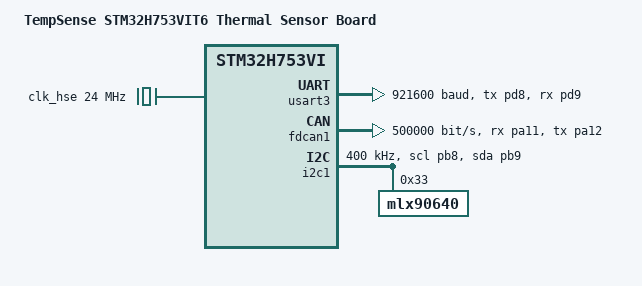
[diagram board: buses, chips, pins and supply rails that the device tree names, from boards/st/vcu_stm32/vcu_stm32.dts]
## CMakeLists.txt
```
# SPDX-License-Identifier: Apache-2.0
cmake_minimum_required(VERSION 3.20.0)

#generates compile_commands.json for clangd to LSP correctly. 
set(CMAKE_EXPORT_COMPILE_COMMANDS ON)

set(BOARD_ROOT ${CMAKE_CURRENT_SOURCE_DIR})


find_package(Zephyr REQUIRED HINTS $ENV{ZEPHYR_BASE})
project(vcu)

# Add include/ directory to include paths
target_include_directories(app PRIVATE
    ${CMAKE_CURRENT_SOURCE_DIR}/include
)

# Gather all C and C++ source files under src/
file(GLOB_RECURSE APP_SOURCES
    ${CMAKE_CURRENT_SOURCE_DIR}/src/*.c
    ${CMAKE_CURRENT_SOURCE_DIR}/src/*.cpp
)

# Suppress conversion/promotion warnings for vendor MLX90640 library
set_source_files_properties(
    ${CMAKE_CURRENT_SOURCE_DIR}/src/MLX/MLX90640_API.c
    ${CMAKE_CURRENT_SOURCE_DIR}/src/MLX/MLX90640_I2C_Driver.c
    PROPERTIES COMPILE_FLAGS "-Wno-double-promotion -Wno-conversion"
)

# Add sources to app target
target_sources(app PRIVATE ${APP_SOURCES})
```

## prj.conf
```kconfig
CONFIG_CAN=y
CONFIG_GPIO=y
CONFIG_ADC=y
CONFIG_I2C=y
CONFIG_UART_ASYNC_API=y
CONFIG_LOG=y
CONFIG_LOG_MODE_IMMEDIATE=y
CONFIG_LOG_DEFAULT_LEVEL=3
CONFIG_LOG_BACKEND_FORMAT_TIMESTAMP=y
CONFIG_LOG_BACKEND_SHOW_COLOR=y
CONFIG_MAIN_STACK_SIZE=16384


CONFIG_CBPRINTF_FP_SUPPORT=y

CONFIG_CPP=y
CONFIG_CPP_EXCEPTIONS=y
CONFIG_GLIBCXX_LIBCPP=y
CONFIG_REQUIRES_FULL_LIBCPP=y
CONFIG_CAN_STATS=y
CONFIG_STD_CPP20=y



# Keep your custom compiler flag:
CONFIG_COMPILER_OPT="-ftrack-macro-expansion=0"
CONFIG_THREAD_MONITOR=y
CONFIG_THREAD_STACK_INFO=y
CONFIG_HEAP_MEM_POOL_SIZE=16384
CONFIG_SYSTEM_WORKQUEUE_STACK_SIZE=8192
CONFIG_SYS_HEAP_RUNTIME_STATS=y


CONFIG_LOG=y
CONFIG_LOG_MODE_IMMEDIATE=y
CONFIG_LOG_BUFFER_SIZE= 6144
CONFIG_LOG_PROCESS_THREAD_STACK_SIZE=2048
CONFIG_PRINTK=y

##CPU load
CONFIG_CPU_LOAD=y



CONFIG_THREAD_RUNTIME_STATS=y
CONFIG_DEBUG_OPTIMIZATIONS=y

CONFIG_SCHED_THREAD_USAGE=y
CONFIG_CPU_LOAD=y
CONFIG_STATS=y


# Enable floating point unit 
CONFIG_FPU=y


# threading
CONFIG_MULTITHREADING=y 
CONFIG_NUM_COOP_PRIORITIES=127
CONFIG_NUM_PREEMPT_PRIORITIES=127
CONFIG_SCHED_SCALABLE=y


## TODO: Remove after stable build 
CONFIG_ASSERT=y
CONFIG_STACK_CANARIES=y
CONFIG_STACK_CANARIES_ALL=y

CONFIG_THREAD_ANALYZER=y
CONFIG_STACK_USAGE=y
```

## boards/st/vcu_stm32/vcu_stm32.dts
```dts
/*
 * TempSense STM32H753VIT6 Thermal Sensor Board
 */

/dts-v1/;

#include <st/h7/stm32h753Xi.dtsi>
#include <st/h7/stm32h753zitx-pinctrl.dtsi>
#include <zephyr/dt-bindings/i2c/i2c.h>
#include <zephyr/dt-bindings/dma/stm32_dma.h>

 / {
	model = "TempSense STM32H753VIT6 Thermal Sensor Board";
	compatible = "st,stm32h753vi";

	chosen {
		zephyr,console = &usart3;
		zephyr,shell-uart = &usart3;

		zephyr,sram  = &sram0;
		zephyr,flash = &flash0;
		zephyr,dtcm  = &dtcm;

		zephyr,canbus = &fdcan1;
	};

	aliases {
		i2c0 = &i2c1;
		can0 = &fdcan1;
	};
};

/*
 * Clocks
 * - Your board has a 24 MHz crystal on PH0/PH1, so use HSE=24MHz (no bypass).
 * - Keep the same derived frequencies as Nucleo: SYSCLK 480 MHz, FDCAN kernel 80 MHz.
 */
&clk_hse {
	clock-frequency = <DT_FREQ_M(24)>;
	status = "okay";
};

&pll {
	/* 24MHz / 6 = 4MHz input, 4MHz * 240 = 960MHz VCO, /2 = 480MHz */
	div-m = <6>;
	mul-n = <240>;
	div-p = <2>;
	div-q = <2>;
	div-r = <2>;
	clocks = <&clk_hse>;
	status = "okay";
};

&pll2 {
	/* 24MHz / 12 = 2MHz input, 2MHz * 120 = 240MHz VCO, /3 = 80MHz for FDCAN */
	div-m = <12>;
	mul-n = <120>;
	div-p = <2>;
	div-q = <3>; /* 80MHz */
	div-r = <2>;
	clocks = <&clk_hse>;
	status = "okay";
};

&rcc {
	clocks = <&pll>;
	clock-frequency = <DT_FREQ_M(480)>;
	d1cpre = <1>;
	hpre = <2>;
	d1ppre = <2>;
	d2ppre1 = <2>;
	d2ppre2 = <2>;
	d3ppre = <2>;
};

/* Enable GPIO ports you use */
&gpioa { status = "okay"; };
&gpiob { status = "okay"; };
&gpioc { status = "okay"; };
&gpiod { status = "okay"; };
&gpioe { status = "okay"; };

/*
 * USART3 console (PD8/PD9)
 */
&usart3 {
	pinctrl-0 = <&usart3_tx_pd8 &usart3_rx_pd9>;
	pinctrl-names = "default";
	current-speed = <921600>;
	status = "okay";
};

/*
 * CAN: transceiver RXD/TXD are on PA11/PA12 per schematic.
 * NOTE: PA11/PA12 are also commonly used for USB FS (DM/DP), so don’t enable USB FS on this pinout.
 */
&fdcan1 {
	clocks = <&rcc STM32_CLOCK_BUS_APB1_2 0x00000100>,
		 <&rcc STM32_SRC_PLL2_Q FDCAN_SEL(2)>;

	pinctrl-0 = <&fdcan1_rx_pa11 &fdcan1_tx_pa12>;
	pinctrl-names = "default";

	/* Optional but usually nice to have in DT */
	bus-speed = <500000>;

	status = "okay";
};

/*
 * I2C1: PB8/PB9 to MLX90640
 */
&i2c1 {
	pinctrl-0 = <&i2c1_scl_pb8 &i2c1_sda_pb9>;
	pinctrl-names = "default";
	clock-frequency = <I2C_BITRATE_FAST>;
	status = "okay";

	/*
	 * MLX90640 default 7-bit I2C address is 0x33 in most setups. :contentReference[oaicite:1]{index=1}
	 * Compatible string depends on the binding/driver you’re using; many Zephyr examples use "mlx90640". :contentReference[oaicite:2]{index=2}
	 */
	mlx90640: mlx90640@33 {
		compatible = "mlx90640";
		reg = <0x33>;
		label = "MLX90640";
	};
}; 
```

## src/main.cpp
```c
#include <zephyr/kernel.h>
#include <zephyr/drivers/can.h>
#include <syscalls/can.h>
#include <stdbool.h>
#include <stddef.h>
#include <stdint.h>
#include <stdio.h>
#include <sys/_intsup.h>
#include <zephyr/debug/cpu_load.h>
#include <zephyr/device.h>
#include <zephyr/devicetree.h>
#include <zephyr/drivers/adc.h>
#include <zephyr/drivers/gpio.h>
#include <zephyr/logging/log.h>
#include <zephyr/sys/mem_stats.h>
#include <zephyr/sys/printk.h>
#include <zephyr/sys/sys_heap.h>
#include <zephyr/toolchain.h>
#include <zephyr/types.h>
#include "MLX/MLX90640_I2C_Driver.h"
#include "can.h"
#include "thermal_Camera.h"
#include "thermal_pipeline.h"

#ifndef __cplusplus
#error "__cplusplus not defined! Build system is compiling as C!"
#endif

LOG_MODULE_REGISTER(main);

CAN_MSGQ_DEFINE(main_can_rx_msgq, 1000);


int main(void)
{

    LOG_INF("Main Innit");

    const struct device *can_dev = DEVICE_DT_GET(DT_NODELABEL(fdcan1));

    static CanBus can;
    can.init(can_dev);

    static ThermalCamera MLX{};
    MLX.init();
    MLX.setRefreshRate(TC_RefreshRate::REFRESH_16_HZ);

    static ThermalPipeline pipe{MLX, can};
    pipe.setPrintMode(PipePrintModes::LOG_STATUS);
    pipe.start();

    k_sleep(K_FOREVER);
}

/*
int main(void)
{
    LOG_INF("Main Innit");

    ThermalCamera MLX {};
    MLX.init();
    MLX.setRefreshRate(TC_RefreshRate::REFRESH_32_HZ);
        


    int64_t now_ms = k_uptime_get();
    int64_t lastMessageTime_ms = now_ms;

    while (true) {

        now_ms = k_uptime_get();
        
        MLX.getUpdatedFrame();
                
        
        if (now_ms - lastMessageTime_ms >= 1000){

            double fps = 1000/(double)(k_uptime_get()-now_ms);
            float loadPer =  static_cast<float>((cpu_load_get(false))/10);
            LOG_INF("PIPE SOH: FRAME FPS: %.2f CPU usage: %.2f", static_cast<double>(fps), loadPer);

            lastMessageTime_ms = now_ms;
        }

    }
    
}
*/
```

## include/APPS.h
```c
#pragma once
#include <zephyr/kernel.h>
#include <zephyr/sys/sys_heap.h>
#include <zephyr/sys/mem_stats.h>
#include <zephyr/debug/cpu_load.h>
#include "hardware.h"
#include "vehicle_state.h"

class APPS_THREAD
{
  private:
    VehicleState *vehicle;

    static constexpr int APPS_THREAD_STACK_SIZE = 1024;
    static constexpr int APPS_THREAD_PRIORITY = 5;
    static constexpr int APPS_PERIOD_MS = 100;

    struct k_thread apps_thread_;
    k_thread_stack_t *apps_stack_;
    static VehicleState *vehicle_;
    static Hardware *hardware_;

    int64_t agreement_fault_deadline_ = 0;
    bool brake_fault_latched_ = false;

    static void apps_main_loop(void *p1, void *p2, void *p3);

    void update();
    float readPedalPercent(uint16_t raw, uint16_t low, uint16_t range, PEDAL_SLOPE_DIRECTION slope);
    bool checkOpenCircuit(uint16_t raw, uint16_t low_threshold);
    bool checkShortCircuit(uint16_t raw, uint16_t high_threshold);
    bool checkPedalAgreement(float p1_pct, float p2_pct);
    bool checkBrakeOverlap(float avg_pct);

  public:
    APPS_THREAD(VehicleState *vehicle);

    int Initialize(Hardware *hw);
};
```

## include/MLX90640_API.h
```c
/**
 * @copyright (C) 2017 Melexis N.V.
 *
 * Licensed under the Apache License, Version 2.0 (the "License");
 * you may not use this file except in compliance with the License.
 * You may obtain a copy of the License at
 *
 *     http://www.apache.org/licenses/LICENSE-2.0
 *
 * Unless required by applicable law or agreed to in writing, software
 * distributed under the License is distributed on an "AS IS" BASIS,
 * WITHOUT WARRANTIES OR CONDITIONS OF ANY KIND, either express or implied.
 * See the License for the specific language governing permissions and
 * limitations under the License.
 *
 */
#ifndef _MLX90640_API_H_
#define _MLX90640_API_H_

#include <stdint.h>

#ifdef __cplusplus
extern "C" {
#endif

#define MLX90640_NO_ERROR 0
#define MLX90640_I2C_NACK_ERROR 1
#define MLX90640_I2C_WRITE_ERROR 2
#define MLX90640_BROKEN_PIXELS_NUM_ERROR 3
#define MLX90640_OUTLIER_PIXELS_NUM_ERROR 4
#define MLX90640_BAD_PIXELS_NUM_ERROR 5
#define MLX90640_ADJACENT_BAD_PIXELS_ERROR 6
#define MLX90640_EEPROM_DATA_ERROR 7
#define MLX90640_FRAME_DATA_ERROR 8
#define MLX90640_MEAS_TRIGGER_ERROR 9

#define BIT_MASK(x) (1UL << (x))
#define REG_MASK(sbit,nbits) ~((~(~0UL << (nbits))) << (sbit))

#define MLX90640_EEPROM_START_ADDRESS 0x2400
#define MLX90640_EEPROM_DUMP_NUM 832
#define MLX90640_PIXEL_DATA_START_ADDRESS 0x0400
#define MLX90640_PIXEL_NUM 768
#define MLX90640_LINE_NUM 24
#define MLX90640_COLUMN_NUM 32
#define MLX90640_LINE_SIZE 32
#define MLX90640_COLUMN_SIZE 24
#define MLX90640_AUX_DATA_START_ADDRESS 0x0700
#define MLX90640_AUX_NUM 64
#define MLX90640_STATUS_REG 0x8000
#define MLX90640_INIT_STATUS_VALUE 0x0030
#define MLX90640_STAT_FRAME_MASK BIT_MASK(0) 
#define MLX90640_GET_FRAME(reg_value) (reg_value & MLX90640_STAT_FRAME_MASK)
#define MLX90640_STAT_DATA_READY_MASK BIT_MASK(3) 
#define MLX90640_GET_DATA_READY(reg_value) (reg_value & MLX90640_STAT_DATA_READY_MASK)

#define MLX90640_CTRL_REG 0x800D
#define MLX90640_CTRL_TRIG_READY_MASK BIT_MASK(15) 
#define MLX90640_CTRL_REFRESH_SHIFT 7
#define MLX90640_CTRL_REFRESH_MASK REG_MASK(MLX90640_CTRL_REFRESH_SHIFT,3)
#define MLX90640_CTRL_RESOLUTION_SHIFT 10
#define MLX90640_CTRL_RESOLUTION_MASK REG_MASK(MLX90640_CTRL_RESOLUTION_SHIFT,2)
#define MLX90640_CTRL_MEAS_MODE_SHIFT 12
#define MLX90640_CTRL_MEAS_MODE_MASK BIT_MASK(12)

#define MLX90640_MS_BYTE_SHIFT 8
#define MLX90640_MS_BYTE_MASK 0xFF00
#define MLX90640_LS_BYTE_MASK 0x00FF
#define MLX90640_MS_BYTE(reg16) ((reg16 & MLX90640_MS_BYTE_MASK) >> MLX90640_MS_BYTE_SHIFT)
#define MLX90640_LS_BYTE(reg16) (reg16 & MLX90640_LS_BYTE_MASK)
#define MLX90640_MSBITS_6_MASK 0xFC00
#define MLX90640_LSBITS_10_MASK 0x03FF
#define MLX90640_NIBBLE1_MASK 0x000F
#define MLX90640_NIBBLE2_MASK 0x00F0
#define MLX90640_NIBBLE3_MASK 0x0F00
#define MLX90640_NIBBLE4_MASK 0xF000
#define MLX90640_NIBBLE1(reg16) ((reg16 & MLX90640_NIBBLE1_MASK))
#define MLX90640_NIBBLE2(reg16) ((reg16 & MLX90640_NIBBLE2_MASK) >> 4)
#define MLX90640_NIBBLE3(reg16) ((reg16 & MLX90640_NIBBLE3_MASK) >> 8)
#define MLX90640_NIBBLE4(reg16) ((reg16 & MLX90640_NIBBLE4_MASK) >> 12)

#define POW2(x) pow(2, (double)x) 

#define SCALEALPHA 0.000001
    
typedef struct
    {
        int16_t kVdd;
        int16_t vdd25;
        float KvPTAT;
        float KtPTAT;
        uint16_t vPTAT25;
        float alphaPTAT;
        int16_t gainEE;
        float tgc;
        float cpKv;
        float cpKta;
        uint8_t resolutionEE;
        uint8_t calibrationModeEE;
        float KsTa;
        float ksTo[5];
        int16_t ct[5];
        uint16_t alpha[768];    
        uint8_t alphaScale;
        int16_t offset[768];    
        int8_t kta[768];
        uint8_t ktaScale;    
        int8_t kv[768];
        uint8_t kvScale;
        float cpAlpha[2];
        int16_t cpOffset[2];
        float ilChessC[3]; 
        uint16_t brokenPixels[5];
        uint16_t outlierPixels[5];  
    } paramsMLX90640;
    
    int MLX90640_DumpEE(uint8_t slaveAddr, uint16_t *eeData);
    int MLX90640_SynchFrame(uint8_t slaveAddr);
    int MLX90640_TriggerMeasurement(uint8_t slaveAddr);
    int MLX90640_GetFrameData(uint8_t slaveAddr, uint16_t *frameData);
    int MLX90640_ExtractParameters(uint16_t *eeData, paramsMLX90640 *mlx90640);
    float MLX90640_GetVdd(uint16_t *frameData, const paramsMLX90640 *params);
    float MLX90640_GetTa(uint16_t *frameData, const paramsMLX90640 *params);
    void MLX90640_GetImage(uint16_t *frameData, const paramsMLX90640 *params, float *result);
    void MLX90640_CalculateTo(uint16_t *frameData, const paramsMLX90640 *params, float emissivity, float tr, float *result);
    int MLX90640_SetResolution(uint8_t slaveAddr, uint8_t resolution);
    int MLX90640_GetCurResolution(uint8_t slaveAddr);
    int MLX90640_SetRefreshRate(uint8_t slaveAddr, uint8_t refreshRate);   
    int MLX90640_GetRefreshRate(uint8_t slaveAddr);  
    int MLX90640_GetSubPageNumber(uint16_t *frameData);
    int MLX90640_GetCurMode(uint8_t slaveAddr); 
    int MLX90640_SetInterleavedMode(uint8_t slaveAddr);
    int MLX90640_SetChessMode(uint8_t slaveAddr);
    void MLX90640_BadPixelsCorrection(uint16_t *pixels, float *to, int mode, paramsMLX90640 *params);

#ifdef __cplusplus
}
#endif

#endif
```

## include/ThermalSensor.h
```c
#pragma once

#include <zephyr/device.h>
#include <zephyr/kernel.h>
#include <zephyr/drivers/i2c.h>
#include <stdint.h>


static const constexpr uint8_t FRAME_COLS = 24;
static const constexpr uint8_t FRAME_ROWS = 32;

struct ThermalFrame{
    float pixles[FRAME_COLS][FRAME_ROWS];
    bool warmedData = false;
};



class ThermalSensor
{

    public:

    // Dont pass the driver explicitly to make dependency injection easy
    explicit ThermalSensor(const i2c_dt_spec& i2c); 

    ThermalFrame getCurFrame();


    private:
    
    ThermalFrame curFrame;

    ThermalFrame _bufFrame1;
    ThermalFrame _bufFrame2;

    
    



};
```

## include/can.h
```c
#pragma once
#include <zephyr/drivers/can.h>
#include <zephyr/kernel.h>

class CanBus
{
  private:
    const struct device *dev_;
    uint32_t bitrate_;
    uint32_t sample_point_;
    bool initialized_;
    bool started_;
    uint32_t frames_rec;
    uint32_t frames_sent;

  public:
    CanBus();

    int init(const struct device *dev, uint32_t bitrate = 1000000, uint32_t sample_point = 875);
    int start();
    int stop();

    int send(const struct can_frame *frame, k_timeout_t timeout, can_tx_callback_t callback = nullptr,
             void *user_data = nullptr);

    int add_rx_filter_msgq(struct k_msgq *msgq, const struct can_filter *filter);
    void remove_rx_filter(int filter_id);

    int get_state(enum can_state *state) const;
    int set_mode(can_mode_t mode);
    can_mode_t get_mode() const;

    bool is_initialized() const
    {
        return initialized_;
    }
    bool is_started() const
    {
        return started_;
    }

    const struct device *get_device() const
    {
        return dev_;
    }
};
```

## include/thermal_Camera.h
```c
#pragma once

#include <cstddef>
#include <stdint.h>
#include <zephyr/device.h>
#include <zephyr/drivers/i2c.h>
#include <zephyr/kernel.h>
#include "MLX/MLX90640_API.h"
#include "zephyr/kernel/thread.h"
#include "zephyr/sys/clock.h"

#define MLX_NODE DT_NODELABEL(mlx90640)
#define CAMERA_THREAD_STACK_SIZE 32768 

static constexpr uint8_t MLX906040_I2C_ADRR = 0x32;
static constexpr uint8_t FRAME_COLS = 32;
static constexpr uint8_t FRAME_ROWS = 24;
static constexpr uint16_t MLX90640_WARMUP_S = (4 * 60);
static constexpr uint16_t TOTAL_PIXELS = FRAME_ROWS * FRAME_COLS;
static constexpr uint16_t TOTAL_FRAME_BUFF_AMT = 834;

struct ThermalFrame
{
    float pixels[TOTAL_PIXELS];
    bool warmedData = false;
    uint32_t frameId = 0;
    uint8_t subPage = 0;
};


enum class TC_RefreshRate : uint8_t
{
  REFRESH_00_5_HZ = 0x00,
  REFRESH_01_HZ = 0x01,
  REFRESH_02_HZ = 0x02,
  REFRESH_04_HZ = 0x03,
  REFRESH_08_HZ = 0x04,
  REFRESH_16_HZ = 0x05,
  REFRESH_32_HZ = 0x06, 
  REFRESH_64_HZ = 0x07
};

class ThermalCamera
{
  public:
    explicit ThermalCamera();
    ~ThermalCamera();

    int init();
    int close();
    bool isWarm();
    int setRefreshRate(TC_RefreshRate rate);
    ThermalFrame* getUpdatedFrame();
    static void logFrame(ThermalFrame &frame);

  private:
    // --- Thread configuration ---
    static constexpr int CAPTURE_THREAD_PRIORITY = 5;
    static constexpr size_t CAPTURE_THREAD_STACK_SIZE = CAMERA_THREAD_STACK_SIZE;
    static constexpr k_timeout_t CONSUMER_FRAME_TIMEOUT = K_MSEC(100);

    // --- Sensor state ---
    paramsMLX90640 params;
    uint16_t sensor_init_timestamp_S;
    TC_RefreshRate refreshRate = TC_RefreshRate::REFRESH_02_HZ;

    // --- Frame buffers ---
    ThermalFrame thermFrameBuff1;
    ThermalFrame thermFrameBuff2;
    ThermalFrame *externFramePtr = &thermFrameBuff1;   // Frame that is accessible with getUpdated frame
    ThermalFrame *internalFramePtr = &thermFrameBuff2; // Frame that updateFrame updates

    // --- Synchronization ---
    struct k_mutex frameMutex_;
    struct k_sem frameReadySem_;
    uint32_t nextFrameId_ = 1;

    // --- Threading ---
    k_thread upFrameThread;
    k_tid_t upFrameThreadPtr = nullptr;
    bool running_ = false;

    // --- Internal methods ---
    void updateFrame();
    static int interLeaveChessData(ThermalFrame &sourceFrame, ThermalFrame &destFrame);
    static void updateFrameThreadEntry(void *p1, void *p2, void *p3);
    int getFrame(ThermalFrame &outFrame); // TODO: Fix this naming convention this internal method is to similar to the get for the customer
    int getFullFrame(ThermalFrame &outFrame);

};
```

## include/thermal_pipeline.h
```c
#pragma once

#include <cstdint>
#include <cstdlib>
#include <zephyr/kernel.h>
#include <zephyr/sys/byteorder.h>
#include <errno.h>
#include <span>
#include <vector>
#include <utility>


#include "can.h"
#include "thermal_Camera.h"
#include "zephyr/kernel/thread.h"

#define PIPE_THREAD_STACK_SIZE 32768
// %.4g float: up to 10 characters (e.g. -3.403e+38), plus a comma.
// Prefix: 10 frame-ID digits, comma, 2 row digits; final byte is the NUL.
static constexpr size_t PRINT_FRAMES_ROW_BUFFER_SIZE = 14 + FRAME_COLS * 11;

#define PRINT_FRAMES_STACK_SIZE ROUND_UP(sizeof(ThermalFrame) + PRINT_FRAMES_ROW_BUFFER_SIZE + 2048, 1024)

#define CAMERA_PROCESSING_SEGMENTS 7

// TODO: Implement the correct CAN codes and create DBC


enum class CansMsgCodes : uint32_t 
{
  TempData = 0x330,
  FrameDataIdentifier = 0x331
};


enum class PipeCanFrameTypes: uint8_t
{
  AVERAGED_STRIPS = 0x1,
  FULL_FRAME = 0x2,
  PARTIAL_FRAME = 0x3
};

enum class PipePrintModes
{
  NONE,
  STREAM,
  LOG_STATUS,
};

class ThermalPipeline
{
  public:
    explicit ThermalPipeline(ThermalCamera &camera, CanBus &can);

    int start();
    void close();

    void setPrintMode(PipePrintModes mode);


  private:
    static constexpr int PROCESSING_THREAD_PRIO = 6;
    static constexpr int PRINT_FRAMES_PRIO = 7;
    static constexpr size_t PRINT_QUEUE_LEN = 5;
    static constexpr uint8_t CAN_SIZE = 8;

    //TODO:Impelement a way to differentiate different Cameras
    static const uint16_t deviceId = 0;

    PipePrintModes pipePrintMode = PipePrintModes::LOG_STATUS;

    const struct device *uart_dev = DEVICE_DT_GET(DT_CHOSEN(zephyr_console));



    static void threadEntry(void *p1, void *p2, void *p3);
    void processingLoop();

    // Processing functions
    float getAveragePixel(ThermalFrame &frame);
    static int segmentCameraData(ThermalFrame &frame, float (&buf)[CAMERA_PROCESSING_SEGMENTS]);

    // Payload: BE uint16 frame ID, BE uint16 first index, up to two BE uint16 temps (C * 10).
    int sendTempsOverCan(const std::vector<float> &temps, uint16_t frameID);
    
    /** 
     * @brief 
     * 
     * @param frameType enum that determines the status message sent
     * @param frameId if sending Full frames and or strips the ID of the frame 
     * @return int: 0 on success
     */
    int sendInfoFrame(PipeCanFrameTypes frameType, int16_t frameId = -1);

    /**
     * @brief Generate a framestrip given two points p1 and p2.
     *
     * Given the two points a averaged strip is placed into the stripBuff with p1 acting as the top left point 
     * and p2 as the inclusive bottom right, forming a rectangle. 
     *
     * @param frame Reference to the thermal frame 
     * @param stripBuff Vector float containing the strip data
     * @param p1 the top left start index of the strip in form float pair (x,y).
     * @param p2 the bottom right (inclusive) stop index of the strip. 
     * @param avg boolean flag that if true averages all columns in the strip. 
     * @return 0 on success EINVAL if p1 or p2 are out of range or p2 is > p1
     */
    static int getFrameStrip(ThermalFrame &frame, std::vector<float> &stripBuff, std::pair<size_t, size_t> p1, std::pair<size_t, size_t> p2, bool avg = true);
    
    static uint16_t encodeTemp(const float &temp);

    // PrintFrames Thread
    struct k_thread printFramesThread;
    k_tid_t printFramesTID = nullptr;

    // SOH (status of health) messages
    const uint16_t messageIntervalSec = 5;
    int64_t lastMessageTime = k_uptime_get();
    int64_t statusStartTime = 0;
    uint32_t statusStartFrameId = 0;

    // PrintFrames Queue
    struct k_msgq printFramesQueue;
    ThermalFrame msqQBuff[PRINT_QUEUE_LEN];

    // Process Thermal Frames data Thread
    struct k_thread processingThread;
    k_tid_t processingTID = nullptr;

    static void printFramesEntry(void *instance, void *, void *);
    int printFramesThreadWrk();

    CanBus &can_;
    ThermalCamera &camera_;

    uint32_t lastProcessedFrameId_ = 0;
    bool running_ = false;
    ThermalFrame *workingFrame_{};

    friend class testAccess;
};
```

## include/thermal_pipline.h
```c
#pragma once

#include <cstdint>
#include <zephyr/kernel.h>

#include "can.h"
#include "thermal_camera.h"

#define PIPE_THREAD_STACK_SIZE  32768


// TODO:Talk with pujan about how this is supposed to work
enum CAN_MSG_CODES
{
  AVERAGE_PIXEL_MSG = 0x300
};

class ThermalPipline
{
  public:
    explicit ThermalPipline(ThermalCamera &camera, CanBus &can);

    int start();
    void close();

    bool printData = false;

  private:
    static constexpr int THREAD_PRIORITY = 5;
    static constexpr size_t THREAD_STACK_SIZE = 16384;

    bool pushSummaryToCan();

    static void threadEntry(void *p1, void *p2, void *p3);
    void processingLoop();

    // Processing functions
    float getAveragePixel(ThermalFrame &frame);
    static uint16_t encodeTemp(const float &temp);


    void printSimple(ThermalFrame &Frame);

    CanBus &can_;
    ThermalCamera &camera_;
    struct k_thread workerThread_;
    k_tid_t workerTid_ = nullptr;
    uint32_t lastProcessedFrameId_ = 0;
    bool running_ = false;
    ThermalFrame *workingFrame_{};
};
```

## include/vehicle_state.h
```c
// vehicle_state.h
#pragma once
#include <zephyr/kernel.h>
#include <zephyr/drivers/can.h>

enum Corner : uint8_t
{
    FRONT_LEFT = 0,
    FRONT_RIGHT = 1,
    REAR_LEFT = 2,
    REAR_RIGHT = 3,
    NUM_CORNERS = 4
};

struct DTI_Inverter
{
    uint8_t node_id;

    // Packet 0x1F: General Data 6
    uint8_t control_mode;    // 1=Speed,2=Current,3=CurrBrake,4=Pos,7=None
    int16_t target_iq;       // [A_pk * 10]
    uint16_t motor_position; // [deg * 10]
    uint8_t is_motor_still;  // 1=still, 0=rotating

    // Packet 0x20: General Data 1
    int32_t erpm;          // [ERPM]
    int16_t duty_cycle;    // [% * 10]
    int16_t input_voltage; // [V]

    // Packet 0x21: General Data 2
    int16_t ac_current; // [A_pk * 10]
    int16_t dc_current; // [A_dc * 10]

    // Packet 0x22: General Data 3
    int16_t controller_temp; // [°C * 10]
    int16_t motor_temp;      // [°C * 10]
    uint8_t fault_code;      // 0x00=None ... 0x0A=AnalogErr

    // Packet 0x23: General Data 4
    int32_t id; // [A_pk * 100]
    int32_t iq; // [A_pk * 100]

    // Packet 0x24: General Data 5
    int8_t throttle_signal; // [%]
    int8_t brake_signal;    // [%]

    bool digital_in1;
    bool digital_in2;
    bool digital_in3;
    bool digital_in4;
    bool digital_out1;
    bool digital_out2;
    bool digital_out3;
    bool digital_out4;

    bool drive_enable;

    bool limit_cap_temp;
    bool limit_dc_current;
    bool limit_drive_enable;
    bool limit_igbt_accel_temp;
    bool limit_igbt_temp;
    bool limit_input_voltage;
    bool limit_motor_accel_temp;
    bool limit_motor_temp;
    bool limit_rpm_min;
    bool limit_rpm_max;
    bool limit_power;

    uint8_t can_map_version;

    // Packet 0x25: Configured and Available AC Currents
    int16_t max_ac_current;       // [A_pk * 10]
    int16_t avail_max_ac_current; // [A_pk * 10]
    int16_t min_ac_current;       // [A_pk * 10]
    int16_t avail_min_ac_current; // [A_pk * 10]

    // Packet 0x26: Configured and Available DC Currents
    int16_t max_dc_current;       // [A_dc * 10]
    int16_t avail_max_dc_current; // [A_dc * 10]
    int16_t min_dc_current;       // [A_dc * 10]
    int16_t avail_min_dc_current; // [A_dc * 10]

    uint64_t last_rx_time_ms;
};

struct Analog
{
    uint16_t channels[8];
};

enum APPS_ERRORS
{
    PEDAL_AGREEMENT = 0,
    SHORT_CIRCUIT_P1 = 1,
    SHORT_CIRCUIT_P2 = 2,
    OPEN_CIRCUIT_P1 = 3,
    OPEN_CIRCUIT_P2 = 4,
    BRAKE_OVERLAP = 5,
    NUM_ERRORS = 8,
};

enum PEDAL_SLOPE_DIRECTION
{
    POSITIVE,
    NEGATIVE
};

namespace APPS_CONSTEXPRS
{
static constexpr uint16_t calculateRange(uint16_t highThreshold, uint16_t lowThreshold)
{
    return (highThreshold > lowThreshold) ? (highThreshold - lowThreshold) : (lowThreshold - highThreshold);
}

static constexpr PEDAL_SLOPE_DIRECTION PEDAL_SLOPE_DIRECTION(uint16_t highThreshold, uint16_t lowThreshold)
{
    return (highThreshold > lowThreshold) ? POSITIVE : NEGATIVE;
}

} // namespace APPS_CONSTEXPRS

struct APPS_data
{
    bool errors[APPS_ERRORS::NUM_ERRORS];
    bool faulted;

    // calibration values, constexpr set at compile time
    static constexpr int pedal1_adc_channel_num = 0;
    static constexpr int pedal2_adc_channel_num = 1;
    static constexpr uint16_t pedal1_low_threshold = 10000;
    static constexpr uint16_t pedal2_low_threshold = 10000;
    static constexpr uint16_t pedal1_high_threshold = 20000;
    static constexpr uint16_t pedal2_high_threshold = 20000;

    static constexpr int brake_main_adc_channel_num = 0;

    // other calibration values
    static constexpr float agreement_threshold = 0.10f; // 10% disagreement
    static constexpr int agreement_timeout_ms = 100;
    static constexpr float brake_on_threshold = 0.25f;  // throttle % to latch brake fault
    static constexpr float brake_off_threshold = 0.05f; // throttle % to clear brake fault

    // constexpr values that are calculated at compiletime
    static constexpr uint16_t pedal1_range_width =
        APPS_CONSTEXPRS::calculateRange(pedal1_high_threshold, pedal1_low_threshold);
    static constexpr uint16_t pedal2_range_width =
        APPS_CONSTEXPRS::calculateRange(pedal2_high_threshold, pedal2_low_threshold);
    static constexpr PEDAL_SLOPE_DIRECTION pedal1_slope_direction =
        APPS_CONSTEXPRS::PEDAL_SLOPE_DIRECTION(pedal1_high_threshold, pedal1_low_threshold);
    static constexpr PEDAL_SLOPE_DIRECTION pedal2_slope_direction =
        APPS_CONSTEXPRS::PEDAL_SLOPE_DIRECTION(pedal2_high_threshold, pedal2_low_threshold);

    // IN PERCENTAGE, translation of input voltages to output command AFTER APPS processing
    float commandedTorquePercentage;
    float pedal1_percent;
    float pedal2_percent;
};

// struct that provides access to sub  Interface structs that house publicly accessible data to whole program.
// classes that interact with vehicle state should refer to this struct as source of truth
class VehicleState
{
  public:
    DTI_Inverter INVERTERS[Corner::NUM_CORNERS];
    Analog analogIf;
    APPS_data APPSIf;
};
```

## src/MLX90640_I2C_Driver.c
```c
#include "MLX90640_I2C_Driver.h"
#include <zephyr/drivers/i2c.h>
#include <zephyr/logging/log.h>

LOG_MODULE_REGISTER(mlx90640_i2c);

// Driver owns the I2C bus reference; ThermalCamera no longer holds it.
static const struct i2c_dt_spec mlx_i2c = I2C_DT_SPEC_GET(DT_NODELABEL(mlx90640));

void MLX90640_I2CInit(void)
{
    if (!i2c_is_ready_dt(&mlx_i2c)) {
        LOG_ERR("MLX90640 I2C bus not ready");
    }
}

int MLX90640_I2CGeneralReset(void)
{
    // General call: address 0x00, command byte 0x06 resets all I2C devices on the bus.
    uint8_t cmd = 0x06;
    int ret = i2c_write(mlx_i2c.bus, &cmd, sizeof(cmd), 0x00);
    if (ret < 0) {
        LOG_ERR("I2C general reset failed: %d", ret);
        return -MLX90640_I2C_WRITE_ERROR;
    }
    return MLX90640_NO_ERROR;
}

int MLX90640_I2CRead(uint8_t slaveAddr, uint16_t startAddress,
                     uint16_t nMemAddressRead, uint16_t *data)
{
    (void)slaveAddr; // default address is defined in the DT spec

    uint8_t reg[2] = { (uint8_t)(startAddress >> 8), (uint8_t)(startAddress & 0xFF) };
    uint16_t nBytes = nMemAddressRead * sizeof(uint16_t);

    int ret = i2c_write_read_dt(&mlx_i2c, reg, sizeof(reg), (uint8_t *)data, nBytes);
    if (ret < 0) {
        LOG_ERR("I2C read failed at 0x%04x: %d", startAddress, ret);
        return -MLX90640_I2C_NACK_ERROR;
    }

    // Sensor sends each 16-bit word big-endian; swap to host order.
    for (uint16_t i = 0; i < nMemAddressRead; i++) {
        uint8_t *p = (uint8_t *)&data[i];
        data[i] = ((uint16_t)p[0] << 8) | p[1];
    }

    return MLX90640_NO_ERROR;
}

int MLX90640_I2CWrite(uint8_t slaveAddr, uint16_t writeAddress, uint16_t data)
{
    (void)slaveAddr; // address is owned by the dt_spec

    uint8_t buf[4] = {
        (uint8_t)(writeAddress >> 8),
        (uint8_t)(writeAddress & 0xFF),
        (uint8_t)(data >> 8),
        (uint8_t)(data & 0xFF)
    };

    int ret = i2c_write_dt(&mlx_i2c, buf, sizeof(buf));
    if (ret < 0) {
        LOG_ERR("I2C write failed at 0x%04x: %d", writeAddress, ret);
        return -MLX90640_I2C_WRITE_ERROR;
    }
    return MLX90640_NO_ERROR;
}

void MLX90640_I2CFreqSet(int freq)
{
    // I2C speed is set in DTS; Zephyr doesn't support runtime frequency changes
    // on most drivers. Keep as no-op to satisfy the API contract.
    (void)freq;
}
```

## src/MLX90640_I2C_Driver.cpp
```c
#include "MLX90640_I2C_Driver.h"
#include <zephyr/drivers/i2c.h>
#include <zephyr/logging/log.h>

LOG_MODULE_REGISTER(mlx90640_i2c);

// Driver owns the I2C bus reference; ThermalCamera no longer holds it.
static const struct i2c_dt_spec mlx_i2c = I2C_DT_SPEC_GET(DT_NODELABEL(mlx90640));

void MLX90640_I2CInit(void)
{
    if (!i2c_is_ready_dt(&mlx_i2c)) {
        LOG_ERR("MLX90640 I2C bus not ready");
    }
}

int MLX90640_I2CGeneralReset(void)
{
    // General call: address 0x00, command byte 0x06 resets all I2C devices on the bus.
    uint8_t cmd = 0x06;
    int ret = i2c_write(mlx_i2c.bus, &cmd, sizeof(cmd), 0x00);
    if (ret < 0) {
        LOG_ERR("I2C general reset failed: %d", ret);
        return -MLX90640_I2C_WRITE_ERROR;
    }
    return MLX90640_NO_ERROR;
}

int MLX90640_I2CRead(uint8_t slaveAddr, uint16_t startAddress,
                     uint16_t nMemAddressRead, uint16_t *data)
{
    (void)slaveAddr; // address is owned by the dt_spec

    uint8_t reg[2] = { (uint8_t)(startAddress >> 8), (uint8_t)(startAddress & 0xFF) };
    uint16_t nBytes = nMemAddressRead * sizeof(uint16_t);

    int ret = i2c_write_read_dt(&mlx_i2c, reg, sizeof(reg), (uint8_t *)data, nBytes);
    if (ret < 0) {
        LOG_ERR("I2C read failed at 0x%04x: %d", startAddress, ret);
        return -MLX90640_I2C_NACK_ERROR;
    }

    // Sensor sends each 16-bit word big-endian; swap to host order.
    for (uint16_t i = 0; i < nMemAddressRead; i++) {
        uint8_t *p = (uint8_t *)&data[i];
        data[i] = ((uint16_t)p[0] << 8) | p[1];
    }

    return MLX90640_NO_ERROR;
}

int MLX90640_I2CWrite(uint8_t slaveAddr, uint16_t writeAddress, uint16_t data)
{
    (void)slaveAddr; // address is owned by the dt_spec

    uint8_t buf[4] = {
        (uint8_t)(writeAddress >> 8),
        (uint8_t)(writeAddress & 0xFF),
        (uint8_t)(data >> 8),
        (uint8_t)(data & 0xFF)
    };

    int ret = i2c_write_dt(&mlx_i2c, buf, sizeof(buf));
    if (ret < 0) {
        LOG_ERR("I2C write failed at 0x%04x: %d", writeAddress, ret);
        return -MLX90640_I2C_WRITE_ERROR;
    }
    return MLX90640_NO_ERROR;
}

void MLX90640_I2CFreqSet(int freq)
{
    // I2C speed is set in DTS; Zephyr doesn't support runtime frequency changes
    // on most drivers. Keep as no-op to satisfy the API contract.
    (void)freq;
}
```
